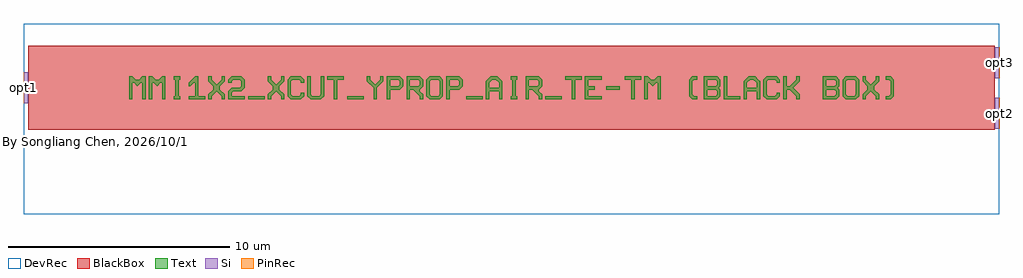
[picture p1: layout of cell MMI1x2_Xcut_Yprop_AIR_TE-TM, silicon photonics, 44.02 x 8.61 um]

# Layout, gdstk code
import gdstk
lib = gdstk.Library(unit=1e-6, precision=1e-10)
def R(c, l, rs):  # rectangles x0, y0, x1, y1
    for r in rs: c.add(gdstk.rectangle(r[:2], r[2:], *l))
def P(c, l, *ps):  # polygons
    for p in ps: c.add(gdstk.Polygon(p, *l))
Si = (1, 0)
PinRec = (1, 10)
Text = (10, 0)
DevRec = (68, 0)
BlackBox = (998, 0)

text_1 = lib.new_cell('TEXT$1')
R(text_1, Text, [(5.364,0,6.109,0.149), (9.834,0,10.579,0.149), (15.198,0,15.943,0.149), (18.774,0,19.519,0.149), (21.531,0.447,22.127,0.596)])
P(text_1, Text, [(0,0),(0,1.043),(0.149,1.043),(0.298,0.894),(0.447,0.894),(0.596,1.043),(0.745,1.043),(0.745,0),(0.596,0),(0.596,0.745),(0.522,0.745),(0.373,0.596),(0.224,0.745),(0.149,0.745),(0.149,0)],
  [(0.894,0),(0.894,1.043),(1.043,1.043),(1.192,0.894),(1.341,0.894),(1.49,1.043),(1.639,1.043),(1.639,0),(1.49,0),(1.49,0.745),(1.416,0.745),(1.267,0.596),(1.118,0.745),(1.043,0.745),(1.043,0)],
  [(2.012,0),(2.012,0.149),(2.086,0.149),(2.086,0.894),(2.012,0.894),(2.012,1.043),(2.31,1.043),(2.31,0.894),(2.235,0.894),(2.235,0.149),(2.31,0.149),(2.31,0)],
  [(2.682,0),(2.682,0.149),(2.98,0.149),(2.98,0.745),(2.906,0.745),(2.757,0.596),(2.682,0.596),(2.682,0.745),(2.98,1.043),(3.129,1.043),(3.129,0.149),(3.427,0.149),(3.427,0)],
  [(3.576,0),(3.576,0.224),(3.8,0.447),(3.8,0.596),(3.576,0.82),(3.576,1.043),(3.725,1.043),(3.725,0.894),(3.949,0.671),(4.172,0.894),(4.172,1.043),(4.321,1.043),(4.321,0.82),(4.098,0.596),(4.098,0.447),(4.321,0.224),(4.321,0),(4.172,0),(4.172,0.149),(3.949,0.373),(3.725,0.149),(3.725,0)],
  [(4.47,0),(4.47,0.373),(4.619,0.522),(4.992,0.522),(5.066,0.596),(5.066,0.82),(4.992,0.894),(4.694,0.894),(4.619,0.82),(4.619,0.745),(4.47,0.745),(4.47,0.894),(4.619,1.043),(5.066,1.043),(5.215,0.894),(5.215,0.522),(5.066,0.373),(4.694,0.373),(4.619,0.298),(4.619,0.149),(5.215,0.149),(5.215,0)],
  [(6.258,0),(6.258,0.224),(6.482,0.447),(6.482,0.596),(6.258,0.82),(6.258,1.043),(6.407,1.043),(6.407,0.894),(6.631,0.671),(6.854,0.894),(6.854,1.043),(7.003,1.043),(7.003,0.82),(6.78,0.596),(6.78,0.447),(7.003,0.224),(7.003,0),(6.854,0),(6.854,0.149),(6.631,0.373),(6.407,0.149),(6.407,0)],
  [(7.301,0),(7.152,0.149),(7.152,0.894),(7.301,1.043),(7.748,1.043),(7.897,0.894),(7.897,0.745),(7.748,0.745),(7.748,0.82),(7.674,0.894),(7.376,0.894),(7.301,0.82),(7.301,0.224),(7.376,0.149),(7.674,0.149),(7.748,0.224),(7.748,0.298),(7.897,0.298),(7.897,0.149),(7.748,0)],
  [(8.195,0),(8.046,0.149),(8.046,1.043),(8.195,1.043),(8.195,0.224),(8.27,0.149),(8.568,0.149),(8.642,0.224),(8.642,1.043),(8.791,1.043),(8.791,0.149),(8.642,0)],
  [(9.238,0),(9.238,0.894),(8.94,0.894),(8.94,1.043),(9.685,1.043),(9.685,0.894),(9.387,0.894),(9.387,0)],
  [(11.026,0),(11.026,0.522),(10.728,0.82),(10.728,1.043),(10.877,1.043),(10.877,0.894),(11.101,0.671),(11.324,0.894),(11.324,1.043),(11.473,1.043),(11.473,0.82),(11.175,0.522),(11.175,0)],
  [(11.622,0),(11.622,1.043),(12.218,1.043),(12.367,0.894),(12.367,0.596),(12.218,0.447),(11.771,0.447),(11.771,0.596),(12.144,0.596),(12.218,0.671),(12.218,0.82),(12.144,0.894),(11.771,0.894),(11.771,0)],
  [(12.516,0),(12.516,1.043),(13.112,1.043),(13.261,0.894),(12.665,0.894),(12.665,0.596),(13.038,0.596),(13.112,0.671),(13.112,0.82),(13.038,0.894),(13.261,0.894),(13.261,0.596),(13.112,0.447),(13.112,0.373),(13.261,0.224),(13.261,0),(13.112,0),(13.112,0.149),(12.814,0.447),(12.665,0.447),(12.665,0)],
  [(13.559,0),(13.41,0.149),(13.41,0.894),(13.559,1.043),(14.006,1.043),(14.155,0.894),(14.155,0.522),(14.006,0.522),(14.006,0.82),(13.932,0.894),(13.634,0.894),(13.559,0.82),(13.559,0.224),(13.634,0.149),(13.932,0.149),(14.006,0.224),(14.006,0.522),(14.155,0.522),(14.155,0.149),(14.006,0)],
  [(14.304,0),(14.304,1.043),(14.9,1.043),(15.049,0.894),(15.049,0.596),(14.9,0.447),(14.453,0.447),(14.453,0.596),(14.826,0.596),(14.9,0.671),(14.9,0.82),(14.826,0.894),(14.453,0.894),(14.453,0)],
  [(16.092,0),(16.092,0.82),(16.316,1.043),(16.614,1.043),(16.763,0.894),(16.39,0.894),(16.241,0.745),(16.241,0.522),(16.688,0.522),(16.688,0.745),(16.539,0.894),(16.763,0.894),(16.837,0.82),(16.837,0),(16.688,0),(16.688,0.373),(16.241,0.373),(16.241,0)],
  [(17.21,0),(17.21,0.149),(17.284,0.149),(17.284,0.894),(17.21,0.894),(17.21,1.043),(17.508,1.043),(17.508,0.894),(17.433,0.894),(17.433,0.149),(17.508,0.149),(17.508,0)],
  [(17.88,0),(17.88,1.043),(18.476,1.043),(18.625,0.894),(18.029,0.894),(18.029,0.596),(18.402,0.596),(18.476,0.671),(18.476,0.82),(18.402,0.894),(18.625,0.894),(18.625,0.596),(18.476,0.447),(18.476,0.373),(18.625,0.224),(18.625,0),(18.476,0),(18.476,0.149),(18.178,0.447),(18.029,0.447),(18.029,0)],
  [(19.966,0),(19.966,0.894),(19.668,0.894),(19.668,1.043),(20.413,1.043),(20.413,0.894),(20.115,0.894),(20.115,0)],
  [(20.562,0),(20.562,1.043),(21.307,1.043),(21.307,0.894),(20.711,0.894),(20.711,0.596),(21.009,0.596),(21.009,0.447),(20.711,0.447),(20.711,0.149),(21.307,0.149),(21.307,0)],
  [(22.648,0),(22.648,0.894),(22.35,0.894),(22.35,1.043),(23.095,1.043),(23.095,0.894),(22.797,0.894),(22.797,0)],
  [(23.244,0),(23.244,1.043),(23.393,1.043),(23.542,0.894),(23.691,0.894),(23.84,1.043),(23.989,1.043),(23.989,0),(23.84,0),(23.84,0.745),(23.766,0.745),(23.617,0.596),(23.468,0.745),(23.393,0.745),(23.393,0)],
  [(25.405,0),(25.256,0.149),(25.256,0.894),(25.405,1.043),(25.628,1.043),(25.628,0.894),(25.479,0.894),(25.405,0.82),(25.405,0.224),(25.479,0.149),(25.628,0.149),(25.628,0)],
  [(25.926,0),(25.926,1.043),(26.522,1.043),(26.671,0.894),(26.075,0.894),(26.075,0.596),(26.448,0.596),(26.522,0.671),(26.522,0.82),(26.448,0.894),(26.671,0.894),(26.671,0.596),(26.597,0.522),(26.671,0.447),(26.075,0.447),(26.075,0.149),(26.448,0.149),(26.522,0.224),(26.522,0.373),(26.448,0.447),(26.671,0.447),(26.671,0.149),(26.522,0)],
  [(26.82,0),(26.82,1.043),(26.969,1.043),(26.969,0.149),(27.565,0.149),(27.565,0)],
  [(27.714,0),(27.714,0.82),(27.938,1.043),(28.236,1.043),(28.385,0.894),(28.012,0.894),(27.863,0.745),(27.863,0.522),(28.31,0.522),(28.31,0.745),(28.161,0.894),(28.385,0.894),(28.459,0.82),(28.459,0),(28.31,0),(28.31,0.373),(27.863,0.373),(27.863,0)],
  [(28.757,0),(28.608,0.149),(28.608,0.894),(28.757,1.043),(29.204,1.043),(29.353,0.894),(29.353,0.745),(29.204,0.745),(29.204,0.82),(29.13,0.894),(28.832,0.894),(28.757,0.82),(28.757,0.224),(28.832,0.149),(29.13,0.149),(29.204,0.224),(29.204,0.298),(29.353,0.298),(29.353,0.149),(29.204,0)],
  [(29.502,0),(29.502,1.043),(29.651,1.043),(29.651,0.596),(29.8,0.596),(30.098,0.894),(30.098,1.043),(30.247,1.043),(30.247,0.82),(29.949,0.522),(30.247,0.224),(30.247,0),(30.098,0),(30.098,0.149),(29.8,0.447),(29.651,0.447),(29.651,0)],
  [(31.29,0),(31.29,1.043),(31.886,1.043),(32.035,0.894),(31.439,0.894),(31.439,0.596),(31.812,0.596),(31.886,0.671),(31.886,0.82),(31.812,0.894),(32.035,0.894),(32.035,0.596),(31.961,0.522),(32.035,0.447),(31.439,0.447),(31.439,0.149),(31.812,0.149),(31.886,0.224),(31.886,0.373),(31.812,0.447),(32.035,0.447),(32.035,0.149),(31.886,0)],
  [(32.333,0),(32.184,0.149),(32.184,0.894),(32.333,1.043),(32.78,1.043),(32.929,0.894),(32.929,0.522),(32.78,0.522),(32.78,0.82),(32.706,0.894),(32.408,0.894),(32.333,0.82),(32.333,0.224),(32.408,0.149),(32.706,0.149),(32.78,0.224),(32.78,0.522),(32.929,0.522),(32.929,0.149),(32.78,0)],
  [(33.078,0),(33.078,0.224),(33.302,0.447),(33.302,0.596),(33.078,0.82),(33.078,1.043),(33.227,1.043),(33.227,0.894),(33.451,0.671),(33.674,0.894),(33.674,1.043),(33.823,1.043),(33.823,0.82),(33.6,0.596),(33.6,0.447),(33.823,0.224),(33.823,0),(33.674,0),(33.674,0.149),(33.451,0.373),(33.227,0.149),(33.227,0)],
  [(34.121,0),(34.121,0.149),(34.27,0.149),(34.345,0.224),(34.345,0.82),(34.27,0.894),(34.121,0.894),(34.121,1.043),(34.345,1.043),(34.494,0.894),(34.494,0.149),(34.345,0)])

mmi1x2_xcut_yprop_air_te = lib.new_cell('MMI1x2_Xcut_Yprop_AIR_TE-TM')
R(mmi1x2_xcut_yprop_air_te, Si, [(21.8,-1.84,22,-0.44), (-22,-0.7,-21.8,0.7), (21.8,0.44,22,1.84)])
R(mmi1x2_xcut_yprop_air_te, DevRec, [(-22,-5.7093,22,2.9)])
R(mmi1x2_xcut_yprop_air_te, BlackBox, [(-21.8,-1.9,21.8,1.9)])
mmi1x2_xcut_yprop_air_te.add(gdstk.FlexPath([(-21.99,0),(-22.01,0)], 1.4, ends="flush", simple_path=True, layer=1, datatype=10))  # PinRec
mmi1x2_xcut_yprop_air_te.add(gdstk.FlexPath([(21.99,-1.14),(22.01,-1.14)], 1.4, ends="flush", simple_path=True, layer=1, datatype=10))  # PinRec
mmi1x2_xcut_yprop_air_te.add(gdstk.FlexPath([(21.99,1.14),(22.01,1.14)], 1.4, ends="flush", simple_path=True, layer=1, datatype=10))  # PinRec
mmi1x2_xcut_yprop_air_te.add(gdstk.Reference(text_1, (-17.247,-0.5215)))
mmi1x2_xcut_yprop_air_te.add(gdstk.Label('By Songliang Chen, 2026/10/13', (-21.5,-2.4), layer=10, texttype=0))
mmi1x2_xcut_yprop_air_te.add(gdstk.Label('opt1', (-22,0), layer=1, texttype=10))
mmi1x2_xcut_yprop_air_te.add(gdstk.Label('opt2', (22,-1.14), layer=1, texttype=10))
mmi1x2_xcut_yprop_air_te.add(gdstk.Label('opt3', (22,1.14), layer=1, texttype=10))

lib.write_gds('MMI1x2_Xcut_Yprop_AIR_TE-TM.gds')
